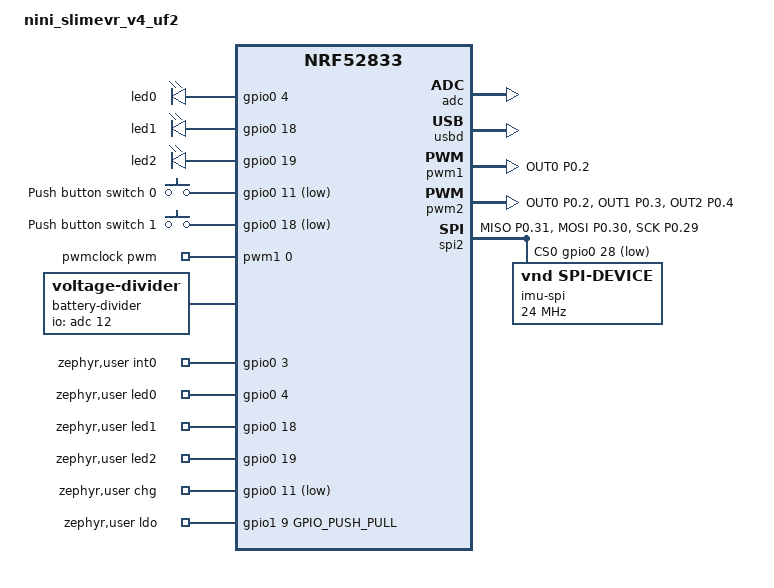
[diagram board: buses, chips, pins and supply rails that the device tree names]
// Copyright (c) 2024 Nordic Semiconductor ASA
// SPDX-License-Identifier: Apache-2.0

/dts-v1/;
#include <nordic/nrf52833_qdaa.dtsi>

//move to dtsi?

&pinctrl {
	spi2_default: spi2_default {
		group1 {
			psels = <NRF_PSEL(SPIM_MISO, 0, 31)>,
					<NRF_PSEL(SPIM_MOSI, 0, 30)>,
					<NRF_PSEL(SPIM_SCK, 0, 29)>;
		};
	};

	spi2_sleep: spi2_sleep {
		group1 {
			psels = <NRF_PSEL(SPIM_MISO, 0, 31)>,
					<NRF_PSEL(SPIM_MOSI, 0, 30)>,
					<NRF_PSEL(SPIM_SCK, 0, 29)>;
			low-power-enable;
		};
	};

	pwm1_default: pwm1_default {
		group1 {
			psels = <NRF_PSEL(PWM_OUT0, 0, 2)>;
		};
	};

	pwm1_sleep: pwm1_sleep {
		group1 {
			psels = <NRF_PIN_DISCONNECTED>;
			low-power-enable;
		};
	};

	pwm2_default: pwm2_default {
		group1 {
			/* RGB LED pins change later */
			psels = <NRF_PSEL(PWM_OUT0, 0, 2)>,
					<NRF_PSEL(PWM_OUT1, 0, 3)>,
					<NRF_PSEL(PWM_OUT2, 0, 4)>;
		};
	};

	pwm2_sleep: pwm2_sleep {
		group1 {
			psels = <NRF_PIN_DISCONNECTED>;
			low-power-enable;
		};
	};
};

/ {
	model = "nini_slimevr_v4_uf2";
	compatible = "nini_slimevr_v4_uf2";

	chosen {
		zephyr,sram = &sram0;
		zephyr,flash = &flash0;
		zephyr,console = &cdc_acm_uart0;
		zephyr,shell-uart = &cdc_acm_uart0;
	};

	leds {
		compatible = "gpio-leds";
		led0: led_0 {
			gpios = <&gpio0 4 GPIO_OPEN_SOURCE>;
		};
		led1: led_1 {
			gpios = <&gpio0 18 GPIO_ACTIVE_HIGH>;
		};
		led2: led_2 {
			gpios = <&gpio0 19 GPIO_ACTIVE_HIGH>;
		};
	};

	buttons {
		compatible = "gpio-keys";
		button0: button_0 {
			gpios = <&gpio0 11 (GPIO_PULL_UP | GPIO_ACTIVE_LOW)>;
			label = "Push button switch 0";
		};
		button1: button_1 {
			gpios = <&gpio0 18 (GPIO_PULL_UP | GPIO_ACTIVE_LOW)>;
			label = "Push button switch 1";
		};
	};

	aliases {
		sw0 = &button0;
		sw1 = &button1;
		led0 = &led0;
		led1 = &led1;
		led2 = &led2;
	};

	pwmclock: pwmclock {
		compatible = "pwm-clock";
		#clock-cells = <1>;
		pwms = <&pwm1 0 PWM_HZ(32768) PWM_POLARITY_NORMAL>;
	};

	battery-divider {
		compatible = "voltage-divider";
		status = "okay";
		io-channels = <&adc 12>; /* Measure VDDHDIV5 */
		output-ohms = <1>;
		full-ohms = <5>;
	};

	zephyr,user {
		int0-gpios = <&gpio0 3 0>;
		led0-gpios = <&gpio0 4 GPIO_ACTIVE_HIGH>;
		led1-gpios = <&gpio0 18 GPIO_ACTIVE_HIGH>;
		led2-gpios = <&gpio0 19 GPIO_ACTIVE_HIGH>;
		chg-gpios = <&gpio0 11 (GPIO_ACTIVE_LOW | GPIO_PULL_UP)>;
		ldo-gpios = <&gpio1 9 GPIO_PUSH_PULL>;
		rgb-red-pwms   = <&pwm2 0 PWM_MSEC(20) PWM_POLARITY_NORMAL>;
		rgb-green-pwms = <&pwm2 1 PWM_MSEC(20) PWM_POLARITY_NORMAL>;
		rgb-blue-pwms  = <&pwm2 2 PWM_MSEC(20) PWM_POLARITY_NORMAL>;
	};
};

&reg1 {
	regulator-initial-mode = <NRF5X_REG_MODE_LDO>;
};

&adc {
	status = "okay";
};

&gpiote {
	status = "okay";
};

&gpio0 {
	status = "okay";
};

&gpio1 {
	status = "okay";
};

zephyr_udc0: &usbd {
	compatible = "nordic,nrf-usbd";
	status = "okay";
	cdc_acm_uart0: cdc_acm_uart0 {
		compatible = "zephyr,cdc-acm-uart";
	};
};

&nfct {
	status = "disabled";
};

&pwm1 {
	status = "okay";
	pinctrl-0 = <&pwm1_default>;
	pinctrl-1 = <&pwm1_sleep>;
	pinctrl-names = "default", "sleep";
};

&pwm2 {
	status = "okay";
	pinctrl-0 = <&pwm2_default>;
	pinctrl-1 = <&pwm2_sleep>;
	pinctrl-names = "default", "sleep";
};

&spi2 {
	status = "okay";
	compatible = "nordic,nrf-spim";
	pinctrl-0 = <&spi2_default>;
	pinctrl-1 = <&spi2_sleep>;
	pinctrl-names = "default", "sleep";
	cs-gpios = <&gpio0 28 GPIO_ACTIVE_LOW>;

	imu_spi: imu@0 {
		compatible = "vnd,spi-device";
		spi-max-frequency = <DT_FREQ_M(24)>;
		label = "imu-spi";
		reg = <0>;
	};
};

